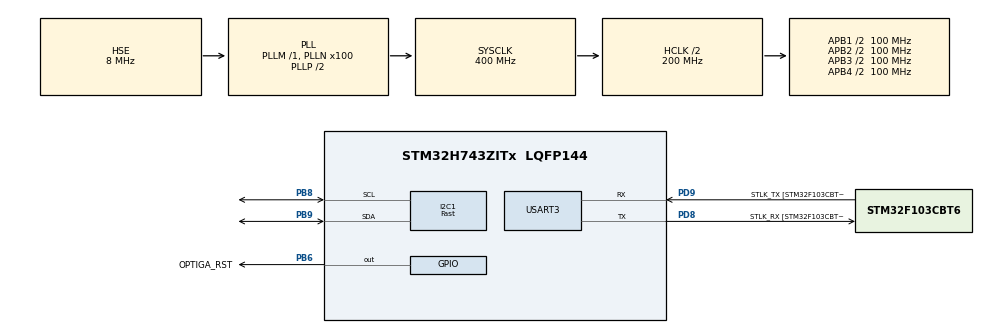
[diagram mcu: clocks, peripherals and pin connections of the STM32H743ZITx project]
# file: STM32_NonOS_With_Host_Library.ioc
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I2C1.I2C_Speed_Mode=I2C_Fast
I2C1.Timing=0x009034B6
Mcu.Family=STM32H7
Mcu.Name=STM32H743ZITx
Mcu.Package=LQFP144
NVIC.PriorityGroup=NVIC_PRIORITYGROUP_4
PA13\ (JTMS/SWDIO).GPIO_Label=TMS
PA13\ (JTMS/SWDIO).Mode=Trace_Asynchronous_SW
PA13\ (JTMS/SWDIO).Signal=DEBUG_JTMS-SWDIO
PA14\ (JTCK/SWCLK).GPIO_Label=TCK
PA14\ (JTCK/SWCLK).Mode=Trace_Asynchronous_SW
PA14\ (JTCK/SWCLK).Signal=DEBUG_JTCK-SWCLK
PB3\ (JTDO/TRACESWO).GPIO_Label=SWO
PB3\ (JTDO/TRACESWO).Mode=Trace_Asynchronous_SW
PB3\ (JTDO/TRACESWO).Signal=DEBUG_JTDO-SWO
PB6.GPIO_Label=OPTIGA_RST
PB6.Signal=GPIO_Output
PB8.Mode=I2C
PB8.Signal=I2C1_SCL
PB9.Mode=I2C
PB9.Signal=I2C1_SDA
PC14-OSC32_IN\ (OSC32_IN).Mode=LSE-External-Oscillator
PC14-OSC32_IN\ (OSC32_IN).Signal=RCC_OSC32_IN
PC15-OSC32_OUT\ (OSC32_OUT).Mode=LSE-External-Oscillator
PC15-OSC32_OUT\ (OSC32_OUT).Signal=RCC_OSC32_OUT
PD8.GPIO_Label=STLK_RX [STM32F103CBT6_PA3]
PD8.Mode=Asynchronous
PD8.Signal=USART3_TX
PD9.GPIO_Label=STLK_TX [STM32F103CBT6_PA2]
PD9.Mode=Asynchronous
PD9.Signal=USART3_RX
PH0-OSC_IN\ (PH0).GPIO_Label=MCO
PH0-OSC_IN\ (PH0).Mode=HSE-External-Clock-Source
PH0-OSC_IN\ (PH0).Signal=RCC_OSC_IN
ProjectManager.HeapSize=0x4000
ProjectManager.StackSize=0x4000
ProjectManager.TargetToolchain=STM32CubeIDE
RCC.48MHZClocksFreq_Value=24000000
RCC.ADCFreq_Value=16125000
RCC.AHBFreq_Value=216000000
RCC.APB1CLKDivider=RCC_HCLK_DIV4
RCC.APB1Freq_Value=100000000
RCC.APB1TimFreq_Value=108000000
RCC.APB2CLKDivider=RCC_HCLK_DIV2
RCC.APB2Freq_Value=100000000
RCC.APB2TimFreq_Value=216000000
RCC.APB3Freq_Value=100000000
RCC.APB4Freq_Value=100000000
RCC.CortexFreq_Value=400000000
RCC.D1PPRE=RCC_APB3_DIV2
RCC.D2PPRE1=RCC_APB1_DIV2
RCC.D2PPRE2=RCC_APB2_DIV2
RCC.D3PPRE=RCC_APB4_DIV2
RCC.DIVM1=1
RCC.DIVN1=100
RCC.DIVQ1=4
RCC.HCLKFreq_Value=200000000
RCC.HPRE=RCC_HCLK_DIV2
RCC.HSE_VALUE=8000000
RCC.HSI_VALUE=64000000
RCC.PLLFRACN=0
RCC.PLLM=25
RCC.PLLMUL=RCC_PLL_MUL9
RCC.PLLN=432
RCC.PLLQ=9
RCC.PLLSourceVirtual=RCC_PLLSOURCE_HSE
RCC.PRESCALERUSB=RCC_USBCLKSOURCE_PLL_DIV1_5
RCC.PWR_Regulator_Voltage_Scale=PWR_REGULATOR_VOLTAGE_SCALE1
RCC.SYSCLKFreq_VALUE=400000000
RCC.SYSCLKSource=RCC_SYSCLKSOURCE_PLLCLK
RCC.SYSCLKSourceVirtual=RCC_SYSCLKSOURCE_PLLCLK
RCC.USBFreq_Value=200000000
RCC.VCOOutputFreq_Value=432000000
TIM5.Prescaler=199
USART3.VirtualMode-Asynchronous=VM_ASYNC
VP_TIM5_VS_ClockSourceINT.Mode=Internal
board=NUCLEO-H743ZI

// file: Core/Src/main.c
/* USER CODE BEGIN Header */
/**
  ******************************************************************************
  * @file           : main.c
  * @brief          : Main program body
  ******************************************************************************
  * @attention
  *
  * Copyright (c) 2024 STMicroelectronics.
  * All rights reserved.
  *
  * This software is licensed under terms that can be found in the LICENSE file
  * in the root directory of this software component.
  * If no LICENSE file comes with this software, it is provided AS-IS.
  *
  ******************************************************************************
  */
/* USER CODE END Header */
#include "main.h"

/* USER CODE BEGIN Includes */
#include <stdio.h>
#include "optiga/pal/pal_os_event.h"
#include "pt.h"
/* USER CODE END Includes */

I2C_HandleTypeDef hi2c1;

TIM_HandleTypeDef htim5;

UART_HandleTypeDef huart3;

void SystemClock_Config(void);
static void MX_GPIO_Init(void);
static void MX_I2C1_Init(void);
static void MX_USART3_UART_Init(void);
static void MX_TIM5_Init(void);

/* USER CODE BEGIN 0 */
#define PUTCHAR_PROTOTYPE int __io_putchar(int ch)

PUTCHAR_PROTOTYPE
{
    HAL_UART_Transmit(&huart3, (uint8_t *)&ch, 1, 0xFFFF);
    return ch;
}

uint32_t event_register_time_us = 0;
uint32_t event_trigger_time_us = 0;

static struct pt pt1;

/* USER CODE END 0 */

int main(void)
{

  /* MCU Configuration--------------------------------------------------------*/

  /* Reset of all peripherals, Initializes the Flash interface and the Systick. */
  HAL_Init();

  /* Configure the system clock */
  SystemClock_Config();

  /* Initialize all configured peripherals */
  MX_GPIO_Init();
  MX_I2C1_Init();
  MX_USART3_UART_Init();
  MX_TIM5_Init();
  /* USER CODE BEGIN 2 */

  HAL_TIM_Base_Start(&htim5);

  PT_INIT(&pt1);

  /* USER CODE END 2 */

  /* Infinite loop */
  /* USER CODE BEGIN WHILE */
  while (1)
  {
	  if(event_trigger_time_us)
	  {
		  if((__HAL_TIM_GET_COUNTER(&htim5) - event_register_time_us) > event_trigger_time_us)
		  {
			  event_trigger_time_us = 0;
			  pal_os_event_trigger_registered_callback();
		  }
	  }

// XXX choice which example to run
#define EXAMPLE_CRYPT_RANDOM

#ifdef EXAMPLE_READ_COPROCESSOR_ID
	  extern int8_t example_read_coprocessor_id(struct pt *pt);
	  example_read_coprocessor_id(&pt1);
#endif

#ifdef EXAMPLE_CRYPT_RANDOM
	  extern int8_t example_crypt_random(struct pt *pt);
	  example_crypt_random(&pt1);
#endif

#ifdef EXAMPLE_UTIL_UPDATE_COUNT
	  extern int8_t example_util_update_count(struct pt *pt);
	  example_util_update_count(&pt1);
#endif
    /* USER CODE END WHILE */

  }
}

void SystemClock_Config(void)
{
  RCC_OscInitTypeDef RCC_OscInitStruct = {0};
  RCC_ClkInitTypeDef RCC_ClkInitStruct = {0};

  /** Supply configuration update enable
  */
  HAL_PWREx_ConfigSupply(PWR_LDO_SUPPLY);

  /** Configure the main internal regulator output voltage
  */
  __HAL_PWR_VOLTAGESCALING_CONFIG(PWR_REGULATOR_VOLTAGE_SCALE1);

  while(!__HAL_PWR_GET_FLAG(PWR_FLAG_VOSRDY)) {}

  /** Initializes the RCC Oscillators according to the specified parameters
  * in the RCC_OscInitTypeDef structure.
  */
  RCC_OscInitStruct.OscillatorType = RCC_OSCILLATORTYPE_HSE;
  RCC_OscInitStruct.HSEState = RCC_HSE_BYPASS;
  RCC_OscInitStruct.PLL.PLLState = RCC_PLL_ON;
  RCC_OscInitStruct.PLL.PLLSource = RCC_PLLSOURCE_HSE;
  RCC_OscInitStruct.PLL.PLLM = 1;
  RCC_OscInitStruct.PLL.PLLN = 100;
  RCC_OscInitStruct.PLL.PLLP = 2;
  RCC_OscInitStruct.PLL.PLLQ = 4;
  RCC_OscInitStruct.PLL.PLLR = 2;
  RCC_OscInitStruct.PLL.PLLRGE = RCC_PLL1VCIRANGE_3;
  RCC_OscInitStruct.PLL.PLLVCOSEL = RCC_PLL1VCOWIDE;
  RCC_OscInitStruct.PLL.PLLFRACN = 0;
  if (HAL_RCC_OscConfig(&RCC_OscInitStruct) != HAL_OK)
  {
    Error_Handler();
  }

  /** Initializes the CPU, AHB and APB buses clocks
  */
  RCC_ClkInitStruct.ClockType = RCC_CLOCKTYPE_HCLK|RCC_CLOCKTYPE_SYSCLK
                              |RCC_CLOCKTYPE_PCLK1|RCC_CLOCKTYPE_PCLK2
                              |RCC_CLOCKTYPE_D3PCLK1|RCC_CLOCKTYPE_D1PCLK1;
  RCC_ClkInitStruct.SYSCLKSource = RCC_SYSCLKSOURCE_PLLCLK;
  RCC_ClkInitStruct.SYSCLKDivider = RCC_SYSCLK_DIV1;
  RCC_ClkInitStruct.AHBCLKDivider = RCC_HCLK_DIV2;
  RCC_ClkInitStruct.APB3CLKDivider = RCC_APB3_DIV2;
  RCC_ClkInitStruct.APB1CLKDivider = RCC_APB1_DIV2;
  RCC_ClkInitStruct.APB2CLKDivider = RCC_APB2_DIV2;
  RCC_ClkInitStruct.APB4CLKDivider = RCC_APB4_DIV2;

  if (HAL_RCC_ClockConfig(&RCC_ClkInitStruct, FLASH_LATENCY_2) != HAL_OK)
  {
    Error_Handler();
  }
}

static void MX_I2C1_Init(void)
{

  hi2c1.Instance = I2C1;
  hi2c1.Init.Timing = 0x009034B6;
  hi2c1.Init.OwnAddress1 = 0;
  hi2c1.Init.AddressingMode = I2C_ADDRESSINGMODE_7BIT;
  hi2c1.Init.DualAddressMode = I2C_DUALADDRESS_DISABLE;
  hi2c1.Init.OwnAddress2 = 0;
  hi2c1.Init.OwnAddress2Masks = I2C_OA2_NOMASK;
  hi2c1.Init.GeneralCallMode = I2C_GENERALCALL_DISABLE;
  hi2c1.Init.NoStretchMode = I2C_NOSTRETCH_DISABLE;
  if (HAL_I2C_Init(&hi2c1) != HAL_OK)
  {
    Error_Handler();
  }

  /** Configure Analogue filter
  */
  if (HAL_I2CEx_ConfigAnalogFilter(&hi2c1, I2C_ANALOGFILTER_ENABLE) != HAL_OK)
  {
    Error_Handler();
  }

  /** Configure Digital filter
  */
  if (HAL_I2CEx_ConfigDigitalFilter(&hi2c1, 0) != HAL_OK)
  {
    Error_Handler();
  }

}

static void MX_TIM5_Init(void)
{

  TIM_ClockConfigTypeDef sClockSourceConfig = {0};
  TIM_MasterConfigTypeDef sMasterConfig = {0};

  htim5.Instance = TIM5;
  htim5.Init.Prescaler = 199;
  htim5.Init.CounterMode = TIM_COUNTERMODE_UP;
  htim5.Init.Period = 4294967295;
  htim5.Init.ClockDivision = TIM_CLOCKDIVISION_DIV1;
  htim5.Init.AutoReloadPreload = TIM_AUTORELOAD_PRELOAD_DISABLE;
  if (HAL_TIM_Base_Init(&htim5) != HAL_OK)
  {
    Error_Handler();
  }
  sClockSourceConfig.ClockSource = TIM_CLOCKSOURCE_INTERNAL;
  if (HAL_TIM_ConfigClockSource(&htim5, &sClockSourceConfig) != HAL_OK)
  {
    Error_Handler();
  }
  sMasterConfig.MasterOutputTrigger = TIM_TRGO_RESET;
  sMasterConfig.MasterSlaveMode = TIM_MASTERSLAVEMODE_DISABLE;
  if (HAL_TIMEx_MasterConfigSynchronization(&htim5, &sMasterConfig) != HAL_OK)
  {
    Error_Handler();
  }

}

static void MX_USART3_UART_Init(void)
{

  huart3.Instance = USART3;
  huart3.Init.BaudRate = 115200;
  huart3.Init.WordLength = UART_WORDLENGTH_8B;
  huart3.Init.StopBits = UART_STOPBITS_1;
  huart3.Init.Parity = UART_PARITY_NONE;
  huart3.Init.Mode = UART_MODE_TX_RX;
  huart3.Init.HwFlowCtl = UART_HWCONTROL_NONE;
  huart3.Init.OverSampling = UART_OVERSAMPLING_16;
  huart3.Init.OneBitSampling = UART_ONE_BIT_SAMPLE_DISABLE;
  huart3.Init.ClockPrescaler = UART_PRESCALER_DIV1;
  huart3.AdvancedInit.AdvFeatureInit = UART_ADVFEATURE_NO_INIT;
  if (HAL_UART_Init(&huart3) != HAL_OK)
  {
    Error_Handler();
  }
  if (HAL_UARTEx_SetTxFifoThreshold(&huart3, UART_TXFIFO_THRESHOLD_1_8) != HAL_OK)
  {
    Error_Handler();
  }
  if (HAL_UARTEx_SetRxFifoThreshold(&huart3, UART_RXFIFO_THRESHOLD_1_8) != HAL_OK)
  {
    Error_Handler();
  }
  if (HAL_UARTEx_DisableFifoMode(&huart3) != HAL_OK)
  {
    Error_Handler();
  }

}

static void MX_GPIO_Init(void)
{
  GPIO_InitTypeDef GPIO_InitStruct = {0};

  /* GPIO Ports Clock Enable */
  __HAL_RCC_GPIOC_CLK_ENABLE();
  __HAL_RCC_GPIOH_CLK_ENABLE();
  __HAL_RCC_GPIOD_CLK_ENABLE();
  __HAL_RCC_GPIOA_CLK_ENABLE();
  __HAL_RCC_GPIOB_CLK_ENABLE();

  /*Configure GPIO pin Output Level */
  HAL_GPIO_WritePin(OPTIGA_RST_GPIO_Port, OPTIGA_RST_Pin, GPIO_PIN_RESET);

  /*Configure GPIO pin : OPTIGA_RST_Pin */
  GPIO_InitStruct.Pin = OPTIGA_RST_Pin;
  GPIO_InitStruct.Mode = GPIO_MODE_OUTPUT_PP;
  GPIO_InitStruct.Pull = GPIO_NOPULL;
  GPIO_InitStruct.Speed = GPIO_SPEED_FREQ_LOW;
  HAL_GPIO_Init(OPTIGA_RST_GPIO_Port, &GPIO_InitStruct);

}

void Error_Handler(void)
{
  __disable_irq();
  while (1)
  {
  }
}
